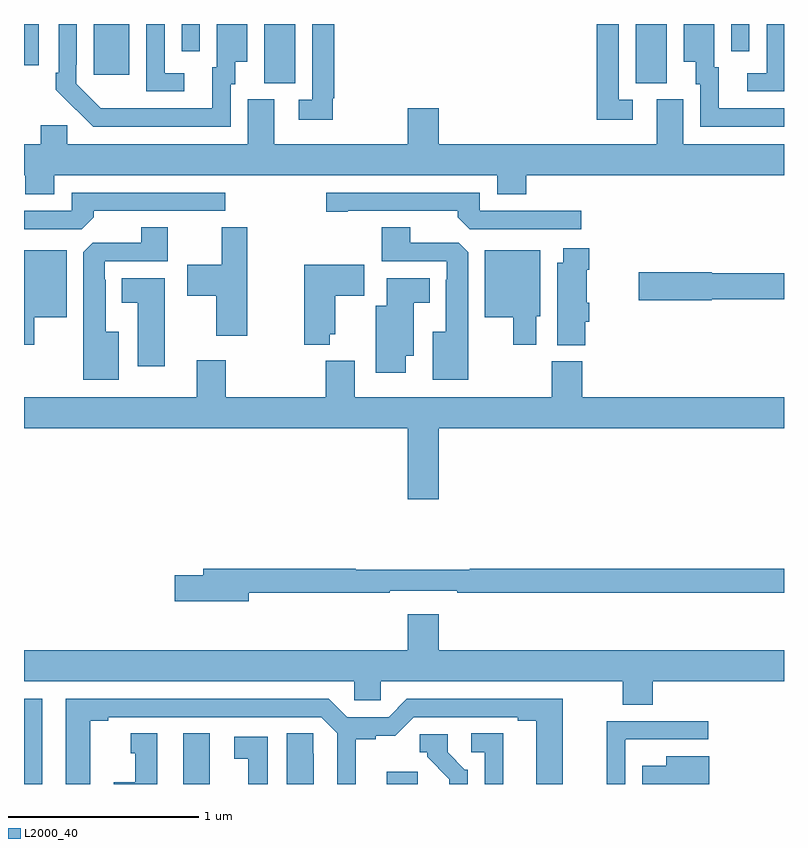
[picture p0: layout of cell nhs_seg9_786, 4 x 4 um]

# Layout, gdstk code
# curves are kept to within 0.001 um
import gdstk
lib = gdstk.Library(unit=1e-6, precision=1e-09)
def R(c, l, rs):  # rectangles x0, y0, x1, y1
    for r in rs: c.add(gdstk.rectangle(r[:2], r[2:], *l))
def P(c, l, *ps):  # polygons
    for p in ps: c.add(gdstk.Polygon(p, *l))
L2000_40 = (2000, 40)

nhs_seg9_786 = lib.new_cell('nhs_seg9_786')
R(nhs_seg9_786, L2000_40, [(151,1242.5,151.096,1242.948), (151.838,1242.5,151.978,1242.766), (152.909,1242.5,153.073,1242.565), (152.264,1246.189,152.428,1246.5), (154.22,1246.189,154.384,1246.5), (151.367,1246.233,151.555,1246.5), (151,1246.284,151.077,1246.5), (151.83,1246.356,151.926,1246.5), (154.722,1246.356,154.818,1246.5)])
P(nhs_seg9_786, L2000_40, [(155,1246.5),(154.908,1246.5),(154.908,1246.242),(154.806,1246.242),(154.806,1246.146),(155,1246.146)],
  [(152.626,1246.108),(152.633,1246.108),(152.633,1246.5),(152.517,1246.5),(152.517,1246.101),(152.445,1246.101),(152.445,1245.996),(152.626,1245.996)],
  [(154.204,1246.101),(154.131,1246.101),(154.131,1246.5),(154.015,1246.5),(154.015,1245.996),(154.204,1245.996)],
  [(151.843,1246.242),(151.74,1246.242),(151.74,1246.5),(151.644,1246.5),(151.644,1246.146),(151.843,1246.146)],
  [(152.088,1246.182),(152.113,1246.182),(152.113,1246.301),(152.176,1246.301),(152.176,1246.498),(152.015,1246.498),(152.015,1246.272),(151.991,1246.272),(151.991,1246.056),(151.404,1246.057),(151.275,1246.185),(151.275,1246.285),(151.278,1246.285),(151.278,1246.5),(151.182,1246.5),(151.182,1246.243),(151.167,1246.243),(151.167,1246.155),(151.364,1245.96),(152.088,1245.96)],
  [(155,1246.056),(154.657,1246.056),(154.657,1246.272),(154.633,1246.272),(154.633,1246.498),(154.472,1246.498),(154.472,1246.301),(154.535,1246.301),(154.535,1246.182),(154.56,1246.182),(154.56,1245.96),(155,1245.96)],
  [(153.491,1245.605),(153.644,1245.605),(153.644,1245.704),(155,1245.704),(155,1245.868),(154.471,1245.868),(154.471,1246.104),(154.331,1246.104),(154.331,1245.868),(153.184,1245.868),(153.184,1246.057),(153.02,1246.057),(153.02,1245.868),(152.317,1245.868),(152.317,1246.104),(152.177,1246.104),(152.177,1245.868),(151.227,1245.868),(151.227,1245.966),(151.088,1245.966),(151.088,1245.868),(151,1245.868),(151,1245.704),(151.007,1245.704),(151.007,1245.605),(151.159,1245.605),(151.159,1245.704),(153.491,1245.704)],
  [(151.367,1245.482),(151.367,1245.516),(152.059,1245.516),(152.059,1245.612),(151.251,1245.612),(151.251,1245.516),(151,1245.516),(151,1245.42),(151.305,1245.42)],
  [(153.934,1245.516),(153.399,1245.516),(153.399,1245.612),(152.592,1245.612),(152.592,1245.511),(152.704,1245.511),(152.704,1245.516),(153.284,1245.516),(153.284,1245.482),(153.345,1245.42),(153.934,1245.42)],
  [(153.337,1245.299),(153.288,1245.348),(153.034,1245.348),(153.034,1245.431),(152.882,1245.431),(152.882,1245.252),(153.225,1245.252),(153.225,1245.155),(153.221,1245.155),(153.221,1244.881),(153.152,1244.881),(153.152,1244.627),(153.337,1244.627)],
  [(151.498,1244.881),(151.429,1244.881),(151.429,1245.155),(151.425,1245.155),(151.425,1245.252),(151.756,1245.252),(151.756,1245.431),(151.616,1245.431),(151.616,1245.348),(151.362,1245.348),(151.313,1245.299),(151.313,1244.627),(151.498,1244.627)],
  [(152.175,1245.43),(152.042,1245.43),(152.042,1245.232),(151.86,1245.232),(151.86,1245.07),(152.012,1245.07),(152.012,1244.859),(152.175,1244.859)],
  [(153.953,1244.934),(153.974,1244.934),(153.974,1245.034),(153.961,1245.034),(153.961,1245.206),(153.974,1245.206),(153.974,1245.319),(153.839,1245.319),(153.839,1245.244),(153.806,1245.244),(153.806,1244.809),(153.953,1244.809)],
  [(153.697,1244.961),(153.718,1244.961),(153.718,1245.31),(153.425,1245.31),(153.425,1244.957),(153.575,1244.957),(153.575,1244.811),(153.697,1244.811)],
  [(151.054,1244.957),(151.225,1244.957),(151.225,1245.31),(151,1245.31),(151,1244.811),(151.054,1244.811)],
  [(152.608,1244.867),(152.638,1244.867),(152.638,1245.07),(152.791,1245.07),(152.791,1245.232),(152.476,1245.232),(152.476,1244.813),(152.608,1244.813)],
  [(154.62,1245.052),(155,1245.052),(155,1245.188),(154.62,1245.188),(154.62,1245.194),(154.236,1245.194),(154.236,1245.047),(154.62,1245.047)],
  [(151.741,1245.163),(151.514,1245.163),(151.514,1245.032),(151.598,1245.032),(151.598,1244.7),(151.741,1244.7)],
  [(153.01,1244.753),(153.052,1244.753),(153.052,1245.032),(153.136,1245.032),(153.136,1245.163),(152.909,1245.163),(152.909,1245.016),(152.852,1245.016),(152.852,1244.664),(153.01,1244.664)],
  [(153.184,1244.372),(155,1244.372),(155,1244.536),(153.938,1244.536),(153.938,1244.724),(153.778,1244.724),(153.778,1244.536),(152.74,1244.536),(152.74,1244.728),(152.588,1244.728),(152.588,1244.536),(152.063,1244.536),(152.063,1244.731),(151.91,1244.731),(151.91,1244.536),(151,1244.536),(151,1244.372),(153.02,1244.372),(153.02,1243.998),(153.184,1243.998)],
  [(152.182,1243.506),(152.924,1243.506),(152.924,1243.518),(153.28,1243.518),(153.28,1243.506),(155,1243.506),(155,1243.634),(153.347,1243.634),(153.347,1243.627),(152.747,1243.627),(152.747,1243.634),(151.943,1243.634),(151.943,1243.598),(151.794,1243.598),(151.794,1243.463),(152.182,1243.463)],
  [(151,1243.04),(152.739,1243.04),(152.739,1242.942),(152.877,1242.942),(152.877,1243.04),(154.15,1243.04),(154.15,1242.916),(154.31,1242.916),(154.31,1243.04),(155,1243.04),(155,1243.204),(153.184,1243.204),(153.184,1243.393),(153.02,1243.393),(153.02,1243.204),(151,1243.204)],
  [(151.348,1242.832),(151.444,1242.832),(151.444,1242.852),(152.565,1242.852),(152.649,1242.768),(152.649,1242.5),(152.746,1242.5),(152.746,1242.736),(152.85,1242.736),(152.85,1242.755),(152.954,1242.755),(153.051,1242.852),(153.599,1242.852),(153.599,1242.832),(153.695,1242.832),(153.695,1242.5),(153.835,1242.5),(153.835,1242.948),(153.015,1242.948),(152.919,1242.852),(152.701,1242.852),(152.605,1242.948),(151.22,1242.948),(151.22,1242.5),(151.348,1242.5)],
  [(154.164,1242.734),(154.166,1242.734),(154.166,1242.735),(154.6,1242.735),(154.6,1242.831),(154.066,1242.831),(154.066,1242.5),(154.164,1242.5)],
  [(152.524,1242.659),(152.523,1242.659),(152.523,1242.767),(152.384,1242.767),(152.384,1242.5),(152.524,1242.5)],
  [(153.523,1242.767),(153.354,1242.767),(153.354,1242.666),(153.426,1242.666),(153.426,1242.5),(153.523,1242.5)],
  [(151.702,1242.766),(151.562,1242.766),(151.562,1242.663),(151.586,1242.663),(151.586,1242.508),(151.472,1242.508),(151.472,1242.5),(151.702,1242.5)],
  [(153.336,1242.576),(153.321,1242.576),(153.231,1242.666),(153.231,1242.762),(153.084,1242.762),(153.084,1242.666),(153.123,1242.666),(153.123,1242.643),(153.239,1242.526),(153.239,1242.5),(153.336,1242.5)],
  [(152.284,1242.75),(152.106,1242.75),(152.106,1242.634),(152.18,1242.634),(152.18,1242.5),(152.284,1242.5)],
  [(154.606,1242.646),(154.379,1242.646),(154.379,1242.595),(154.254,1242.595),(154.254,1242.5),(154.606,1242.5)])

lib.write_gds('nhs_seg9_786.gds')
